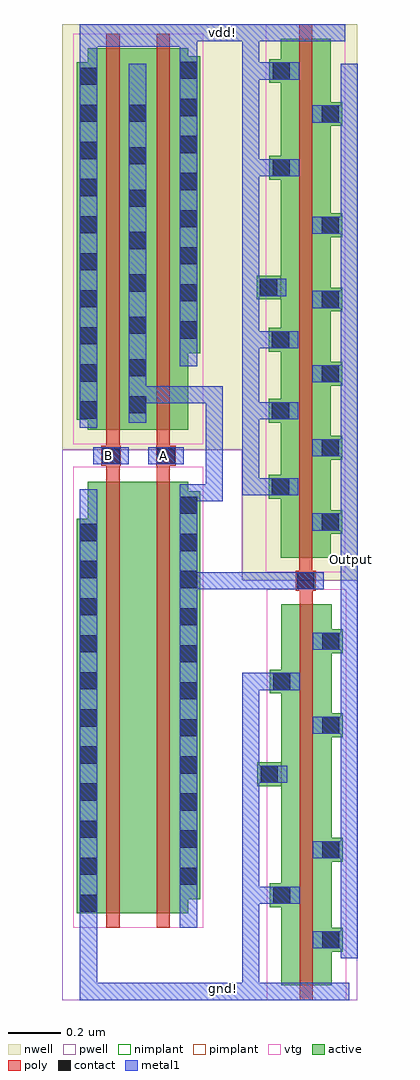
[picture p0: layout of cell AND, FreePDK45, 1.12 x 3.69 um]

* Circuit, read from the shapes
.subckt AND A B Output gnd! vdd!
M1 n1 B gnd! gnd! nfet w=1.63u l=0.05u
M2 Inverter_1/In A n1 gnd! nfet w=1.63u l=0.05u
M3 Output Inverter_1/In gnd! gnd! nfet w=1.44u l=0.05u
M4 Inverter_1/In B vdd! vdd! pfet w=1.44u l=0.05u
M5 vdd! A Inverter_1/In vdd! pfet w=1.44u l=0.05u
M6 Output Inverter_1/In vdd! vdd! pfet w=1.96u l=0.05u
.ends

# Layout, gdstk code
from math import pi, radians
import gdstk
lib = gdstk.Library(unit=1e-6, precision=5e-10)
def R(c, l, rs):  # rectangles x0, y0, x1, y1
    for r in rs: c.add(gdstk.rectangle(r[:2], r[2:], *l))
def A(c, l, x, y, w, h, nx, ny, dx, dy):  # array of equal rectangles
    R(c, l, [(x+i*dx, y+j*dy, x+i*dx+w, y+j*dy+h) for i in range(nx) for j in range(ny)])
active = (1, 0)
pwell = (2, 0)
nwell = (3, 0)
nimplant = (4, 0)
pimplant = (5, 0)
vtg = (6, 0)
poly = (9, 0)
contact = (10, 0)
metal1 = (11, 0)

pmos_vtg_0 = lib.new_cell('pmos_vtg_0')
R(pmos_vtg_0, active, [(-0.07,0,0.31,1.44), (-0.07,0,0,1.44), (0.0475,0,0.1875,1.44), (0.24,0,0.31,1.44)])
R(pmos_vtg_0, nwell, [(-0.125,-0.055,0.365,1.495)])
R(pmos_vtg_0, pimplant, [(-0.07,0,0.31,1.44)])
R(pmos_vtg_0, vtg, [(-0.125,-0.055,0.365,1.495)])
R(pmos_vtg_0, poly, [(0,-0.055,0.05,0), (0,-0.055,0.05,1.495), (0.19,-0.055,0.24,0), (0.19,-0.055,0.24,1.495), (0,1.44,0.05,1.495), (0.19,1.44,0.24,1.495)])
pmos_vtg_0.add(gdstk.Label('l = 0.05', (0.25,0.72), layer=230, texttype=0))
pmos_vtg_0.add(gdstk.Label('w = 1.44', (0.215,1.505), layer=230, texttype=0))
pmos_vtg_0.add(gdstk.Label('l = 0.05', (0.06,0.72), layer=230, texttype=0))
pmos_vtg_0.add(gdstk.Label('w = 1.44', (0.025,1.505), layer=230, texttype=0))

nmos_vtg_1 = lib.new_cell('nmos_vtg_1')
R(nmos_vtg_1, active, [(-0.07,0,0.31,1.63), (-0.07,0,0,1.63), (0.0475,0,0.1875,1.63), (0.24,0,0.31,1.63)])
R(nmos_vtg_1, pwell, [(-0.125,-0.055,0.365,1.685)])
R(nmos_vtg_1, nimplant, [(-0.07,0,0.31,1.63)])
R(nmos_vtg_1, vtg, [(-0.125,-0.055,0.365,1.685)])
R(nmos_vtg_1, poly, [(0,-0.055,0.05,0), (0,-0.055,0.05,1.685), (0.19,-0.055,0.24,0), (0.19,-0.055,0.24,1.685), (0,1.63,0.05,1.685), (0.19,1.63,0.24,1.685)])
nmos_vtg_1.add(gdstk.Label('l = 0.05', (0.25,0.815), layer=230, texttype=0))
nmos_vtg_1.add(gdstk.Label('w = 1.63', (0.215,1.695), layer=230, texttype=0))
nmos_vtg_1.add(gdstk.Label('l = 0.05', (0.06,0.815), layer=230, texttype=0))
nmos_vtg_1.add(gdstk.Label('w = 1.63', (0.025,1.695), layer=230, texttype=0))

m1_poly_2 = lib.new_cell('M1_POLY_2')
R(m1_poly_2, poly, [(-0.0375,-0.0375,0.0375,0.0375)])
R(m1_poly_2, contact, [(-0.0325,-0.0325,0.0325,0.0325)])
R(m1_poly_2, metal1, [(-0.0325,-0.0675,0.0325,0.0675)])

nand = lib.new_cell('NAND')
A(nand, active, 0.3575, 2.25, 0.09, 0.14, 1, 11, 0, 0.14)
A(nand, active, 0.735, 2.2875, 0.09, 0.14, 1, 10, 0, 0.14)
A(nand, active, 0.735, 4.15, 0.09, 0.14, 1, 9, 0, 0.14)
A(nand, active, 0.55, 4.22, 0.09, 0.09, 1, 7, 0, 0.16)
A(nand, active, 0.3575, 4.3125, 0.09, 0.14, 1, 8, 0, 0.14)
R(nand, active, [(0.735,2.1975,0.825,2.2875), (0.735,4.06,0.825,4.15), (0.55,4.08,0.64,4.17)])
R(nand, pwell, [(0.2725,2.1425,0.88,3.9475)])
R(nand, nwell, [(0.2725,3.9475,0.88,5.555)])
A(nand, nimplant, 0.3575, 2.25, 0.09, 0.14, 1, 11, 0, 0.14)
A(nand, nimplant, 0.735, 2.2875, 0.09, 0.14, 1, 10, 0, 0.14)
R(nand, nimplant, [(0.735,2.1975,0.825,2.2875)])
A(nand, pimplant, 0.735, 4.15, 0.09, 0.14, 1, 9, 0, 0.14)
A(nand, pimplant, 0.55, 4.22, 0.09, 0.09, 1, 7, 0, 0.16)
A(nand, pimplant, 0.3575, 4.3125, 0.09, 0.14, 1, 8, 0, 0.14)
R(nand, pimplant, [(0.735,4.06,0.825,4.15), (0.55,4.08,0.64,4.17)])
A(nand, contact, 0.7475, 2.2025, 0.065, 0.065, 1, 11, 0, 0.14)
A(nand, contact, 0.37, 2.305, 0.065, 0.065, 1, 11, 0, 0.14)
A(nand, contact, 0.7475, 4.065, 0.065, 0.065, 1, 10, 0, 0.14)
A(nand, contact, 0.5625, 4.225, 0.065, 0.065, 1, 7, 0, 0.16)
A(nand, contact, 0.37, 4.3675, 0.065, 0.065, 1, 8, 0, 0.14)
R(nand, contact, [(0.5625,4.085,0.6275,4.15)])
nand.add(gdstk.FlexPath([(0.6275,4.155),(0.305,4.155),(0.305,3.785),(0.435,3.785)], 0.065, ends="flush", simple_path=True, layer=11, datatype=0))  # metal1
nand.add(gdstk.FlexPath([(0.4025,2.1425),(0.4025,3.805)], 0.065, ends="flush", simple_path=True, layer=11, datatype=0))  # metal1
nand.add(gdstk.FlexPath([(0.595,4.05),(0.595,5.405)], 0.065, ends="flush", simple_path=True, layer=11, datatype=0))  # metal1
nand.add(gdstk.FlexPath([(0.37,5.4425),(0.4025,5.4425),(0.4025,5.5025),(0.78,5.5025),(0.78,4.03)], 0.065, ends="flush", simple_path=True, layer=11, datatype=0))  # metal1
nand.add(gdstk.FlexPath([(0.4025,4.2625),(0.4025,5.3775)], 0.065, ends=(0, 0.0325), simple_path=True, layer=11, datatype=0))  # metal1
nand.add(gdstk.FlexPath([(0.78,3.7975),(0.78,2.155)], 0.065, ends="flush", simple_path=True, layer=11, datatype=0))  # metal1
nand.add(gdstk.FlexPath([(0.6875,4.005),(0.6875,3.9625)], 0.05, ends="flush", simple_path=True, layer=9, datatype=0))  # poly
nand.add(gdstk.FlexPath([(0.6875,3.86),(0.6875,3.8875)], 0.05, ends="flush", simple_path=True, layer=9, datatype=0))  # poly
nand.add(gdstk.FlexPath([(0.4975,3.86),(0.4975,3.8875)], 0.05, ends="flush", simple_path=True, layer=9, datatype=0))  # poly
nand.add(gdstk.FlexPath([(0.4975,4.0125),(0.4975,3.9625)], 0.05, ends="flush", simple_path=True, layer=9, datatype=0))  # poly
nand.add(gdstk.Reference(pmos_vtg_0, (0.4725,4.0225)))
nand.add(gdstk.Reference(nmos_vtg_1, (0.4725,2.1975)))
nand.add(gdstk.Reference(m1_poly_2, (0.4875,3.925), rotation=pi/2))
nand.add(gdstk.Reference(m1_poly_2, (0.695,3.925), rotation=pi/2))
nand.add(gdstk.Label('gnd!', (0.7875,2.185), layer=11, texttype=0))
nand.add(gdstk.Label('vdd!', (0.5925,5.505), layer=11, texttype=0))
nand.add(gdstk.Label('Output', (0.3075,3.9975), layer=11, texttype=0))
nand.add(gdstk.Label('B', (0.705,3.9275), layer=11, texttype=0))
nand.add(gdstk.Label('A', (0.4975,3.9275), layer=11, texttype=0))

nmos_vtg_2 = lib.new_cell('nmos_vtg_2')
R(nmos_vtg_2, active, [(-0.07,0,0.12,1.44), (-0.07,0,0,1.44), (0.05,0,0.12,1.44)])
R(nmos_vtg_2, pwell, [(-0.125,-0.055,0.175,1.495)])
R(nmos_vtg_2, nimplant, [(-0.07,0,0.12,1.44)])
R(nmos_vtg_2, vtg, [(-0.125,-0.055,0.175,1.495)])
R(nmos_vtg_2, poly, [(0,-0.055,0.05,0), (0,-0.055,0.05,1.495), (0,1.44,0.05,1.495)])
nmos_vtg_2.add(gdstk.Label('l = 0.05', (0.06,0.72), layer=230, texttype=0))
nmos_vtg_2.add(gdstk.Label('w = 1.44', (0.025,1.505), layer=230, texttype=0))

pmos_vtg_3 = lib.new_cell('pmos_vtg_3')
R(pmos_vtg_3, active, [(-0.07,0,0.12,1.96), (-0.07,0,0,1.96), (0.05,0,0.12,1.96)])
R(pmos_vtg_3, nwell, [(-0.125,-0.055,0.175,2.015)])
R(pmos_vtg_3, pimplant, [(-0.07,0,0.12,1.96)])
R(pmos_vtg_3, vtg, [(-0.125,-0.055,0.175,2.015)])
R(pmos_vtg_3, poly, [(0,-0.055,0.05,0), (0,-0.055,0.05,2.015), (0,1.96,0.05,2.015)])
pmos_vtg_3.add(gdstk.Label('l = 0.05', (0.06,0.98), layer=230, texttype=0))
pmos_vtg_3.add(gdstk.Label('w = 1.96', (0.025,2.025), layer=230, texttype=0))

m1_p_3 = lib.new_cell('M1_P_3')
R(m1_p_3, active, [(-0.045,-0.045,0.045,0.045)])
R(m1_p_3, pimplant, [(-0.045,-0.045,0.045,0.045)])
R(m1_p_3, contact, [(-0.0325,-0.0325,0.0325,0.0325)])
R(m1_p_3, metal1, [(-0.0325,-0.0675,0.0325,0.0675)])

m1_n_4 = lib.new_cell('M1_N_4')
R(m1_n_4, active, [(-0.045,-0.045,0.045,0.045)])
R(m1_n_4, nimplant, [(-0.045,-0.045,0.045,0.045)])
R(m1_n_4, contact, [(-0.0325,-0.0325,0.0325,0.0325)])
R(m1_n_4, metal1, [(-0.0325,-0.0675,0.0325,0.0675)])

ntap_5 = lib.new_cell('NTAP_5')
R(ntap_5, active, [(-0.045,-0.045,0.045,0.045)])
R(ntap_5, nwell, [(-0.1,-0.1,0.1,0.1)])
R(ntap_5, nimplant, [(-0.045,-0.045,0.045,0.045)])
R(ntap_5, contact, [(-0.0325,-0.0325,0.0325,0.0325)])
R(ntap_5, metal1, [(-0.0325,-0.0675,0.0325,0.0675)])

ptap_6 = lib.new_cell('PTAP_6')
R(ptap_6, active, [(-0.045,-0.045,0.045,0.045)])
R(ptap_6, pwell, [(-0.1,-0.1,0.1,0.1)])
R(ptap_6, pimplant, [(-0.045,-0.045,0.045,0.045)])
R(ptap_6, contact, [(-0.0325,-0.0325,0.0325,0.0325)])
R(ptap_6, metal1, [(-0.0325,-0.0675,0.0325,0.0675)])

inverter = lib.new_cell('Inverter')
R(inverter, pwell, [(0.805,0,0.8975,0.6575), (1.195,0,1.24,1.55), (0.805,0.6575,0.8975,1.585), (0.895,1.55,1.24,1.585)])
R(inverter, nwell, [(0.805,1.585,1.005,2.59), (0.895,1.585,1.24,1.615), (1.195,1.615,1.24,3.685), (0.805,2.79,0.895,3.685)])
R(inverter, metal1, [(0.87,3.475,0.885,3.54)])
inverter.add(gdstk.FlexPath([(0.805,2.4925),(1.01,2.4925)], 0.065, ends="flush", simple_path=True, layer=11, datatype=0))  # metal1
inverter.add(gdstk.FlexPath([(0.805,1.2025),(1.02,1.2025)], 0.065, ends="flush", simple_path=True, layer=11, datatype=0))  # metal1
inverter.add(gdstk.FlexPath([(0.8375,0.0325),(1.21,0.0325)], 0.065, ends="flush", simple_path=True, layer=11, datatype=0))  # metal1
inverter.add(gdstk.FlexPath([(0.8875,0.395),(0.805,0.395)], 0.065, ends="flush", simple_path=True, layer=11, datatype=0))  # metal1
inverter.add(gdstk.FlexPath([(0.8375,1.235),(0.8375,0)], 0.065, ends="flush", simple_path=True, layer=11, datatype=0))  # metal1
inverter.add(gdstk.FlexPath([(1.195,3.6525),(0.8325,3.6525)], 0.065, ends="flush", simple_path=True, layer=11, datatype=0))  # metal1
inverter.add(gdstk.FlexPath([(0.885,3.1425),(0.805,3.1425)], 0.065, ends="flush", simple_path=True, layer=11, datatype=0))  # metal1
inverter.add(gdstk.FlexPath([(0.8375,3.685),(0.8375,2.6575)], 0.065, ends="flush", simple_path=True, layer=11, datatype=0))  # metal1
inverter.add(gdstk.FlexPath([(1.21,3.535),(1.21,0.1575)], 0.065, ends="flush", simple_path=True, layer=11, datatype=0))  # metal1
inverter.add(gdstk.FlexPath([(0.8375,2.6575),(0.8375,1.905)], 0.065, ends="flush", simple_path=True, layer=11, datatype=0))  # metal1
inverter.add(gdstk.FlexPath([(0.805,2.225),(0.9775,2.225)], 0.065, ends="flush", simple_path=True, layer=11, datatype=0))  # metal1
inverter.add(gdstk.FlexPath([(0.805,1.9375),(0.985,1.9375)], 0.065, ends="flush", simple_path=True, layer=11, datatype=0))  # metal1
inverter.add(gdstk.Reference(nmos_vtg_2, (1.0225,0.055)))
inverter.add(gdstk.Reference(pmos_vtg_3, (1.02,1.67)))
inverter.add(gdstk.Reference(m1_poly_2, (1.045,1.5825), rotation=pi/2))
inverter.add(gdstk.Reference(m1_p_3, (0.9525,3.5075), rotation=pi/2))
inverter.add(gdstk.Reference(m1_p_3, (1.1375,3.345), rotation=pi/2))
inverter.add(gdstk.Reference(m1_p_3, (0.95,1.9375), rotation=pi/2))
inverter.add(gdstk.Reference(m1_p_3, (1.1375,2.925), rotation=pi/2))
inverter.add(gdstk.Reference(m1_p_3, (1.1375,2.645), rotation=pi/2))
inverter.add(gdstk.Reference(m1_p_3, (1.1375,1.805), rotation=pi/2))
inverter.add(gdstk.Reference(m1_p_3, (0.95,2.4925), rotation=pi/2))
inverter.add(gdstk.Reference(m1_p_3, (1.1375,2.365), rotation=pi/2))
inverter.add(gdstk.Reference(m1_p_3, (1.1375,2.085), rotation=pi/2))
inverter.add(gdstk.Reference(m1_p_3, (0.95,2.225), rotation=pi/2))
inverter.add(gdstk.Reference(m1_p_3, (0.9525,3.1425), rotation=pi/2))
inverter.add(gdstk.Reference(m1_n_4, (1.14,0.2275), rotation=pi/2))
inverter.add(gdstk.Reference(m1_n_4, (1.14,0.5675), rotation=pi/2))
inverter.add(gdstk.Reference(m1_n_4, (0.955,1.2025), rotation=pi/2))
inverter.add(gdstk.Reference(m1_n_4, (1.14,1.355), rotation=pi/2))
inverter.add(gdstk.Reference(m1_n_4, (0.955,0.395), rotation=pi/2))
inverter.add(gdstk.Reference(m1_n_4, (1.14,1.0375), rotation=pi/2))
inverter.add(gdstk.Reference(ntap_5, (0.905,2.69), rotation=pi/2))
inverter.add(gdstk.Reference(ptap_6, (0.9075,0.8525), rotation=pi/2))
inverter.add(gdstk.Label('Out', (1.2125,1.5875), layer=11, texttype=0))
inverter.add(gdstk.Label('gnd!', (0.91,0.8675), layer=11, texttype=0))
inverter.add(gdstk.Label('vdd!', (0.9125,2.6925), layer=11, texttype=0))
inverter.add(gdstk.Label('In', (1.045,1.5825), layer=11, texttype=0))

and_ = lib.new_cell('AND')
R(and_, pwell, [(-0.68,-2.0775,0.435,-0.4925), (-0.68,-2.0775,0.435,-1.8025), (-0.68,-0.5175,0,0)])
R(and_, nwell, [(-0.68,0,0.435,1.6075)])
and_.add(gdstk.FlexPath([(0.1225,-2.045),(-0.6125,-2.045)], 0.065, ends="flush", simple_path=True, layer=11, datatype=0))  # metal1
and_.add(gdstk.FlexPath([(-0.58,-1.7875),(-0.58,-2.0525)], 0.065, ends="flush", simple_path=True, layer=11, datatype=0))  # metal1
and_.add(gdstk.FlexPath([(0.185,-0.495),(-0.2275,-0.495)], 0.065, ends="flush", simple_path=True, layer=11, datatype=0))  # metal1
and_.add(gdstk.FlexPath([(0.085,1.575),(-0.6125,1.575)], 0.065, ends="flush", simple_path=True, layer=11, datatype=0))  # metal1
and_.add(gdstk.Reference(nand, (0.2,-3.9475), rotation=pi, x_reflection=True))
and_.add(gdstk.Reference(inverter, (-0.805,-2.0775)))
and_.add(gdstk.Label('gnd!', (-0.07,-2.035), layer=11, texttype=0))
and_.add(gdstk.Label('vdd!', (-0.075,1.575), layer=11, texttype=0))
and_.add(gdstk.Label('Output', (0.4125,-0.4125), layer=11, texttype=0))
and_.add(gdstk.Label('B', (-0.505,-0.02), layer=11, texttype=0))
and_.add(gdstk.Label('A', (-0.2975,-0.02), layer=11, texttype=0))

lib.write_gds('AND.gds')
